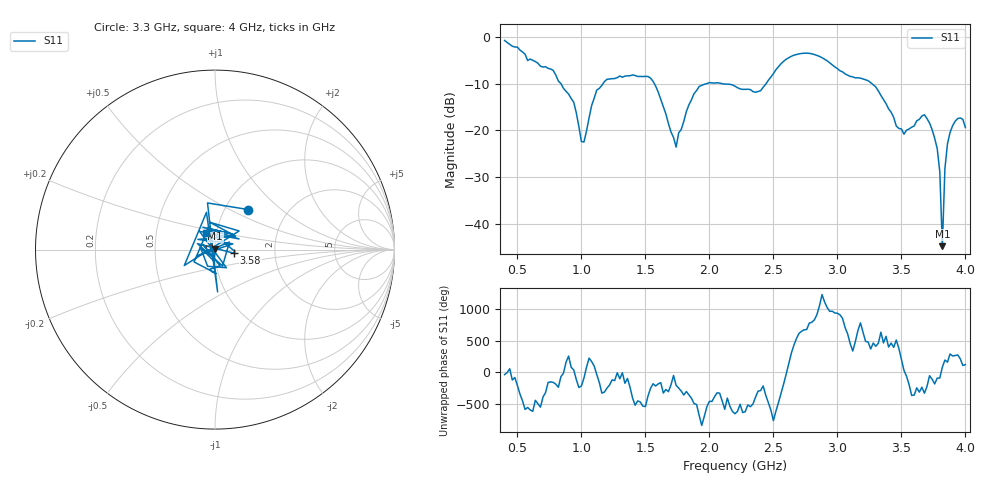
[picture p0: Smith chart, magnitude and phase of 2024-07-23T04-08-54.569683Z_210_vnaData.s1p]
!Created with skrf (http://scikit-rf.org).
# Hz S RI R 50.0
!freq ReS11 ImS11
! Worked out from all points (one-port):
!   181 points, 400 MHz to 4 GHz, reference 50 ohm
!   lowest |S11| = -44.8 dB at 3.82 GHz (marker M1), VSWR 1.01, Z = 50.1 + j0.562 ohm
!   |S11| at or under -10 dB: 1.569 GHz to 1.981 GHz (412 MHz wide, 23.2 % of centre); 2.095 GHz to 2.443 GHz (348.4 MHz wide, 15.4 % of centre); 3.268 GHz to end of sweep (the widest 3 of 4)
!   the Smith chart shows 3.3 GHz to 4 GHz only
!   S11 on the Smith chart (normalised r, x): 3.3 GHz: 1.29, +0.63; 3.58 GHz: 1.24, -0.05; 4 GHz: 0.89, +0.17
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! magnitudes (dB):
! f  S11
! 400 MHz  -0.8
! 780 MHz  -7.2
! 860 MHz  -11.0
! 940 MHz  -14.0
! 1 GHz  -22.4
! 1.02 GHz  -22.5
! 1.12 GHz  -11.4
! 1.3 GHz  -8.4
! 1.54 GHz  -8.8
! 1.74 GHz  -23.6
! 1.76 GHz  -20.6
! 1.92 GHz  -10.6
! 2.2 GHz  -10.6
! 2.4 GHz  -11.5
! 2.66 GHz  -3.9
! 3.1 GHz  -8.5
! 3.3 GHz  -10.7
! 3.46 GHz  -19.1
! 3.56 GHz  -19.7
! 3.58 GHz  -19.4
! 3.68 GHz  -16.7
! 3.76 GHz  -21.7
! 3.8 GHz  -28.9
! 3.82 GHz  -44.8
! 3.84 GHz  -28.2
! 3.86 GHz  -22.9
! 3.94 GHz  -17.5
! 4 GHz  -19.4
